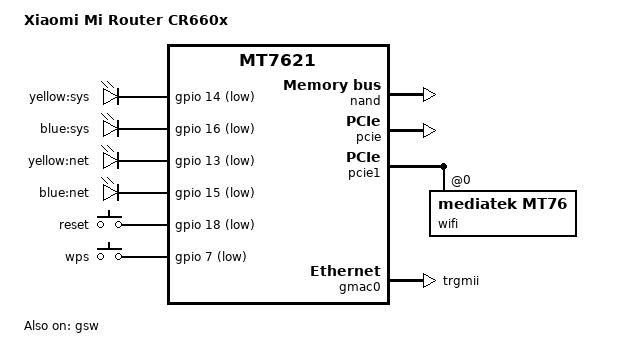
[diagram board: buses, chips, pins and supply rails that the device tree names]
// SPDX-License-Identifier: GPL-2.0-or-later OR MIT

#include "mt7621.dtsi"

#include <dt-bindings/gpio/gpio.h>
#include <dt-bindings/input/input.h>

/ {
	compatible = "xiaomi,mi-router-cr660x", "mediatek,mt7621-soc";
	model = "Xiaomi Mi Router CR660x";

	aliases {
		led-boot = &led_sys_yellow;
		led-failsafe = &led_sys_yellow;
		led-running = &led_sys_blue;
		led-upgrade = &led_sys_yellow;
	};

	chosen {
		bootargs = "console=ttyS0,115200n8";
	};

	leds {
		compatible = "gpio-leds";

		led_sys_yellow: sys_yellow {
			label = "yellow:sys";
			gpios = <&gpio 14 GPIO_ACTIVE_LOW>;
		};

		led_sys_blue: sys_blue {
			label = "blue:sys";
			gpios = <&gpio 16 GPIO_ACTIVE_LOW>;
		};

		net_yellow {
			label = "yellow:net";
			gpios = <&gpio 13 GPIO_ACTIVE_LOW>;
		};

		net_blue {
			label = "blue:net";
			gpios = <&gpio 15 GPIO_ACTIVE_LOW>;
		};
	};

	keys {
		compatible = "gpio-keys";

		reset {
			label = "reset";
			gpios = <&gpio 18 GPIO_ACTIVE_LOW>;
			linux,code = <KEY_RESTART>;
		};

		wps {
			label = "wps";
			gpios = <&gpio 7 GPIO_ACTIVE_LOW>;
			linux,code = <KEY_WPS_BUTTON>;
		};
	};
};

&nand {
	status = "okay";

	partitions {
		compatible = "fixed-partitions";
		#address-cells = <1>;
		#size-cells = <1>;

		partition@0 {
			label = "Bootloader";
			reg = <0x0 0x80000>;
			read-only;
		};

		partition@80000 {
			label = "Nvram";
			reg = <0x80000 0x40000>;
		};

		partition@c0000 {
			label = "Bdata";
			reg = <0xc0000 0x40000>;
			read-only;
		};

		factory: partition@100000 {
			label = "factory";
			reg = <0x100000 0x80000>;
			read-only;
		};

		partition@180000 {
			label = "crash";
			reg = <0x180000 0x40000>;
			read-only;
		};

		partition@1c0000 {
			label = "crash_log";
			reg = <0x1c0000 0x40000>;
			read-only;
		};

		partition@200000 {
			label = "kernel";
			reg = <0x200000 0x400000>;
		};

		partition@600000 {
			label = "ubi";
			reg = <0x600000 0x7980000>;
		};
	};
};

&pcie {
	status = "okay";
};

&pcie1 {
	wifi@0,0 {
		compatible = "mediatek,mt76";
		reg = <0x0000 0 0 0 0>;
		mediatek,mtd-eeprom = <&factory 0x0>;
		mediatek,disable-radar-background;
	};
};

&gmac0 {
	mtd-mac-address = <&factory 0x3fffa>;
	nvmem-cells = <&macaddr_factory_3fffa>;
	nvmem-cell-names = "mac-address";
	phy-mode = "trgmii";
};

&switch0 {
	/* must delete compatible property */
	/delete-property/ compatible;
};

&gsw {
	compatible = "mediatek,mt753x";
	status = "okay";

	mediatek,mdio = <&mdio>;
	mediatek,portmap = "llllw";
	mt7530,direct-phy-access;
	resets = <&rstctrl 2>;
	reset-names = "mcm";
	mediatek,mcm;

	#address-cells = <1>;
	#size-cells = <0>;

	/*
	port5: port@5 {
		compatible = "mediatek,mt753x-port";
		reg = <5>;
		phy-mode = "rgmii";
		fixed-link {
			speed = <1000>;
			full-duplex;
		};
	};
	*/

	port6: port@6 {
		compatible = "mediatek,mt753x-port";
		reg = <6>;
		phy-mode = "trgmii";
		fixed-link {
			speed = <1000>;
			full-duplex;
		};
	};
};

&factory {
	compatible = "nvmem-cells";
	#address-cells = <1>;
	#size-cells = <1>;

	macaddr_factory_3fff4: macaddr@3fff4 {
		reg = <0x3fff4 0x6>;
	};

	macaddr_factory_3fffa: macaddr@3fffa {
		reg = <0x3fffa 0x6>;
	};
};
